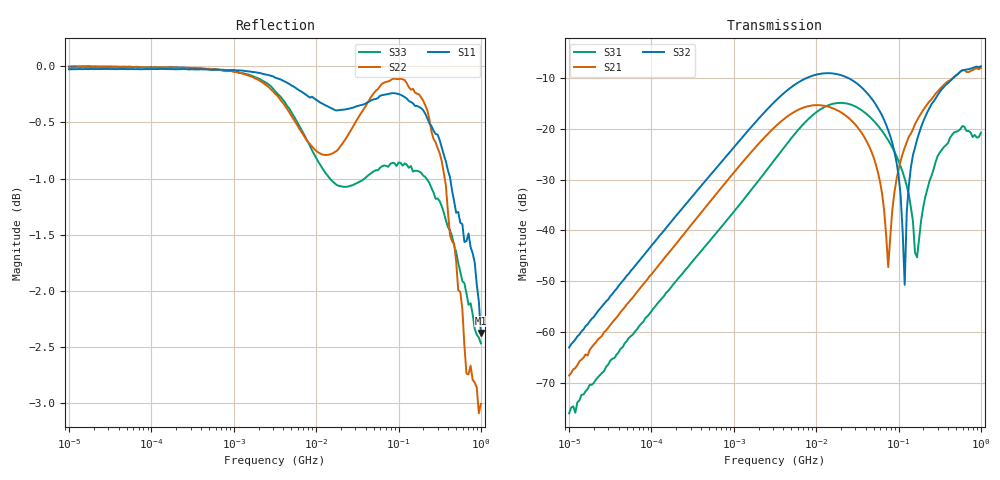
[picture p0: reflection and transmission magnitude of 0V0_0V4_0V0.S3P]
!Keysight Technologies,E5080A,MY55100144,A.11.70.03
!Date: Monday, November 13, 2017 17:23:50
!Correction: S11(Full 3 Port(1,2,3))
!S12(Full 3 Port(1,2,3))
!S13(Full 3 Port(1,2,3))
!S21(Full 3 Port(1,2,3))
!S22(Full 3 Port(1,2,3))
!S23(Full 3 Port(1,2,3))
!S31(Full 3 Port(1,2,3))
!S32(Full 3 Port(1,2,3))
!S33(Full 3 Port(1,2,3))
!S3P File: Measurements: <S11,S12,S13>,
!<S21,S22,S23>,
!<S31,S32,S33>:Log Frequency Sweep
# Hz S  RI  R 50
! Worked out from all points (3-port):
!   201 points, 10 kHz to 1 GHz, reference 50 ohm
!   strongest paths, dB at 10 kHz, 177.8 kHz, 3.162 MHz, 56.23 MHz, 1 GHz:
!     S32: -63.1, -38.1, -14.6, -15.9, -7.7
!     S21: -68.6, -43.6, -19.6, -28.6, -8.0
!     S31: -76.0, -50.9, -26.0, -19.4, -20.8
!   lowest |S11| = -2.4 dB at 1 GHz (marker M1), VSWR 7.37, Z = 368 + j10.3 ohm
!   |S11| at or under -10 dB: nowhere
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10000  0.997 -0.00168  -5.28e-06 0.000385  -2.44e-06 0.000153
       7.13e-06 0.000373  0.9989 -0.0037  1.63e-05 0.000703
       1.8e-05 0.000157  2.16e-05 0.000703  0.9998 -0.00234
3162278  0.8609 -0.4857  0.0622 0.0841  0.011 0.0489
         0.0621 0.0841  0.6397 -0.7324  0.1008 0.1566
         0.0109 0.049  0.1011 0.1566  0.9351 -0.2759
1.258925e7  -0.0404 -0.9605  0.1672 -0.0194  0.1472 0.0721
            0.1674 -0.0196  -0.4829 -0.7751  0.3517 0.0182
            0.1474 0.072  0.3516 0.0182  0.522 -0.7306
5.011872e7  -0.9097 -0.3271  0.0231 -0.0462  0.0705 -0.0966
            0.023 -0.0462  -0.967 -0.106  0.0866 -0.164
            0.0704 -0.0966  0.0865 -0.164  -0.5866 -0.68
7.498942e7  -0.9667 -0.1013  0.00437 0.00029  0.0227 -0.0737
            0.00434 0.000298  -0.9779 0.1147  0.0181 -0.0951
            0.0226 -0.0737  0.0181 -0.095  -0.7964 -0.4237
1.188502e8  -0.9569 0.1521  0.0188 0.0624  0.000512 -0.0324
            0.0188 0.0624  -0.9051 0.3909  0.00105 0.00273
            0.0005 -0.0324  0.00104 0.00272  -0.8997 -0.1003
1.333521e8  -0.9398 0.2194  0.0301 0.0779  -0.000677 -0.0225
            0.0302 0.078  -0.8632 0.4615  0.00736 0.0265
            -0.000727 -0.0226  0.0074 0.0265  -0.9011 -0.018
1.883649e8  -0.8598 0.4225  0.0831 0.1157  0.0115 0.00535
            0.0833 0.1158  -0.6895 0.6802  0.0546 0.0891
            0.0114 0.00541  0.0545 0.089  -0.8667 0.2302
5.308844e8  0.0108 0.8613  0.3244 -0.1286  0.0701 -0.0647
            0.3244 -0.1288  0.5015 0.617  0.3346 -0.1011
            0.07 -0.0647  0.3345 -0.101  -0.1353 0.8063
1e9  0.761 0.00589  -0.094 -0.3863  -0.0564 -0.072
     -0.0946 -0.3862  0.5912 -0.3888  -0.045 -0.4113
     -0.0565 -0.0721  -0.0448 -0.4114  0.6864 0.3094
